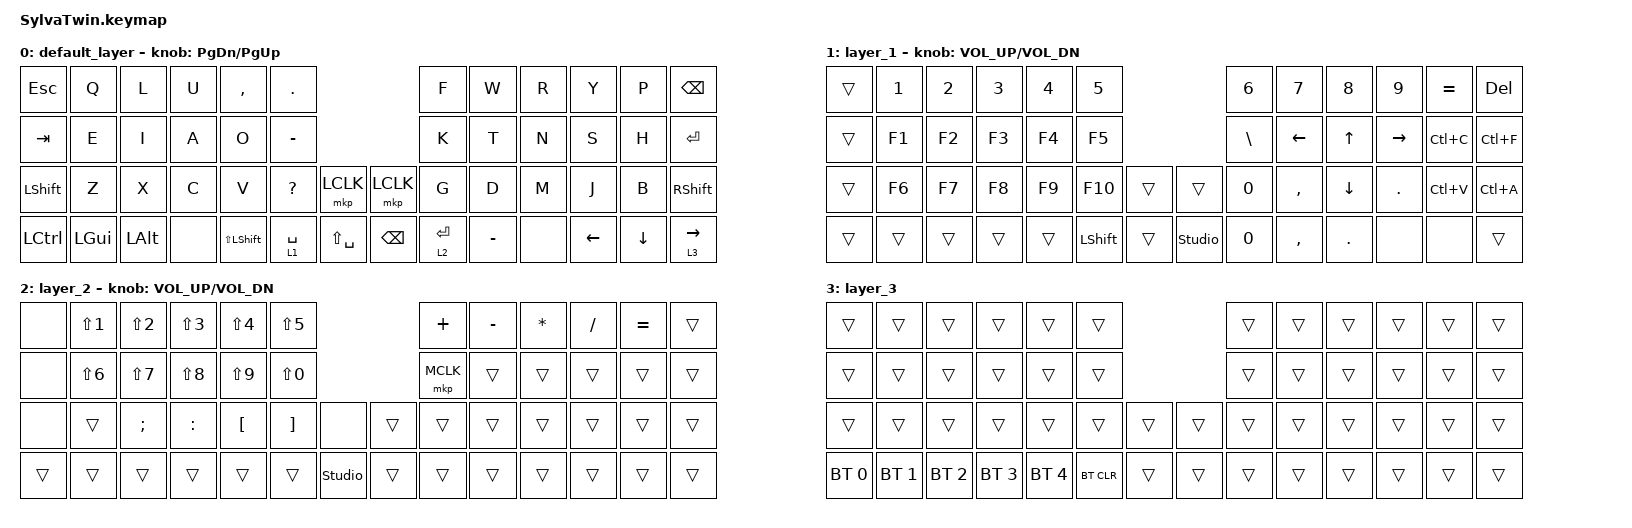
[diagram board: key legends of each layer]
/*
 * Copyright (c) 2020 The ZMK Contributors
 *
 * SPDX-License-Identifier: MIT
 */

#include <behaviors.dtsi>
#include <dt-bindings/zmk/bt.h>
#include <dt-bindings/zmk/keys.h>
#include <dt-bindings/zmk/pointing.h>

/ {
    combos {
        compatible = "zmk,combos";

        prtsc {
            bindings = <&kp PRINTSCREEN>;
            key-positions = <10 11>;
        };

        RightClick {
            bindings = <&mkp RCLK>;
            key-positions = <30 44>;
        };

        MiddleClick {
            bindings = <&mkp MCLK>;
            key-positions = <29 43>;
        };

        RightClick2 {
            bindings = <&mkp RCLK>;
            key-positions = <31 45>;
        };

        MiddleClick2 {
            bindings = <&mkp MCLK>;
            key-positions = <32 46>;
        };

        zen-han {
            bindings = <&kp GRAVE>;
            key-positions = <0 1>;
        };

        paste {
            bindings = <&kp LC(V)>;
            key-positions = <42 28>;
        };

        copy {
            bindings = <&kp LC(C)>;
            key-positions = <41 27>;
        };

        cut {
            bindings = <&kp LC(X)>;
            key-positions = <40 26>;
        };

        prev_click {
            bindings = <&mkp MB4>;
            key-positions = <29 30>;
        };
    };

    keymap {
        compatible = "zmk,keymap";

        default_layer {
            bindings = <
&kp ESC     &kp Q     &kp L     &kp U  &kp COMMA           &kp PERIOD                                 &kp F        &kp W      &kp R  &kp Y     &kp P     &kp BSPC
&kp TAB     &kp E     &kp I     &kp A  &kp O               &kp MINUS                                  &kp K        &kp T      &kp N  &kp S     &kp H     &kp ENTER
&kp LSHIFT  &kp Z     &kp X     &kp C  &kp V               &kp QMARK    &mkp LCLK      &mkp LCLK      &kp G        &kp D      &kp M  &kp J     &kp B     &kp RSHIFT
&kp LCTRL   &kp LGUI  &kp LALT  &none  &kp LS(LEFT_SHIFT)  &lt 1 SPACE  &kp LS(SPACE)  &kp BACKSPACE  &lt 2 ENTER  &kp MINUS  &none  &kp LEFT  &kp DOWN  &lt 3 RIGHT
            >;

            sensor-bindings = <&inc_dec_kp PAGE_DOWN PAGE_UP>;
        };

        layer_1 {
            bindings = <
&trans  &kp NUMBER_1  &kp NUMBER_2  &kp NUMBER_3  &kp NUMBER_4  &kp N5                                  &kp NUMBER_6   &kp NUMBER_7    &kp NUMBER_8  &kp NUMBER_9  &kp EQUAL  &kp DEL
&trans  &kp F1        &kp F2        &kp F3        &kp F4        &kp F5                                  &kp BACKSLASH  &kp LEFT_ARROW  &kp UP_ARROW  &kp RIGHT     &kp LC(C)  &kp LC(F)
&trans  &kp F6        &kp F7        &kp F8        &kp F9        &kp F10         &trans  &trans          &kp NUMBER_0   &kp COMMA       &kp DOWN      &kp PERIOD    &kp LC(V)  &kp LC(A)
&trans  &trans        &trans        &trans        &trans        &kp LEFT_SHIFT  &trans  &studio_unlock  &kp NUMBER_0   &kp COMMA       &kp DOT       &none         &none      &trans
            >;

            sensor-bindings = <&inc_dec_kp C_VOL_UP C_VOL_DN>;
        };

        layer_2 {
            bindings = <
&none   &kp LS(NUMBER_1)  &kp LS(NUMBER_2)  &kp LS(NUMBER_3)  &kp LS(NUMBER_4)  &kp LS(NUMBER_5)                           &kp PLUS   &kp MINUS  &kp ASTERISK  &kp SLASH  &kp EQUAL  &trans
&none   &kp LS(NUMBER_6)  &kp LS(NUMBER_7)  &kp LS(NUMBER_8)  &kp LS(NUMBER_9)  &kp LS(NUMBER_0)                           &mkp MCLK  &trans     &trans        &trans     &trans     &trans
&none   &trans            &kp SEMICOLON     &kp COLON         &kp LEFT_BRACKET  &kp RIGHT_BRACKET  &none           &trans  &trans     &trans     &trans        &trans     &trans     &trans
&trans  &trans            &trans            &trans            &trans            &trans             &studio_unlock  &trans  &trans     &trans     &trans        &trans     &trans     &trans
            >;

            sensor-bindings = <&inc_dec_kp C_VOL_UP C_VOL_DN>;
        };

        layer_3 {
            bindings = <
&trans        &trans        &trans        &trans        &trans        &trans                      &trans  &trans  &trans  &trans  &trans  &trans
&trans        &trans        &trans        &trans        &trans        &trans                      &trans  &trans  &trans  &trans  &trans  &trans
&trans        &trans        &trans        &trans        &trans        &trans      &trans  &trans  &trans  &trans  &trans  &trans  &trans  &trans
&bt BT_SEL 0  &bt BT_SEL 1  &bt BT_SEL 2  &bt BT_SEL 3  &bt BT_SEL 4  &bt BT_CLR  &trans  &trans  &trans  &trans  &trans  &trans  &trans  &trans
            >;
        };
    };
};
